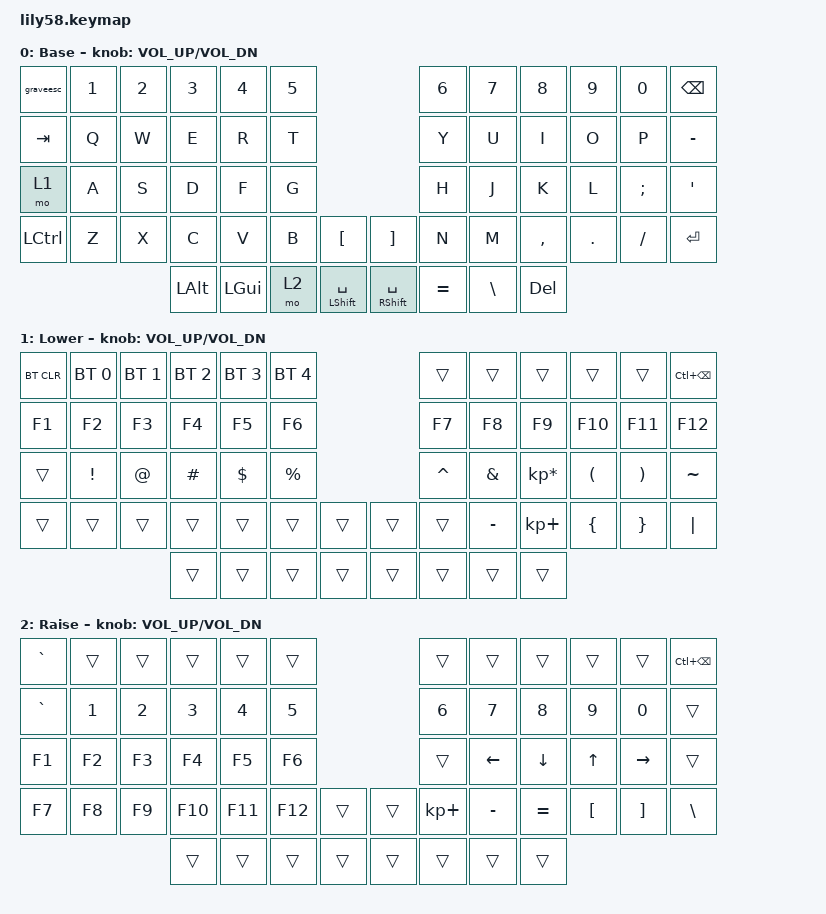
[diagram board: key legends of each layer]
/*
 * Copyright (c) 2020 The ZMK Contributors
 *
 * SPDX-License-Identifier: MIT
 */

#include <behaviors.dtsi>
#include <dt-bindings/zmk/bt.h>
#include <dt-bindings/zmk/keys.h>

/ {
    combos {
        compatible = "zmk,combos";

        combo_f5 {
            bindings = <&kp F5>;
            key-positions = <28 5>;
        };
    };

    behaviors {
        sp: sp {
            compatible = "zmk,behavior-hold-tap";
            label = "SP";
            bindings = <&kp>, <&kp>;

            #binding-cells = <2>;
            flavor = "tap-preferred";
            tapping-term-ms = <200>;
        };

        dbltap_del: dbltap_del {
            compatible = "zmk,behavior-tap-dance";
            label = "DBLTAP_DEL";
            #binding-cells = <0>;
            bindings = <&mt DELETE BACKSPACE>, <&kp LC(BACKSPACE)>;
        };

        graveesc: graveesc {
            compatible = "zmk,behavior-mod-morph";
            label = "GRAVEESC";
            bindings = <&kp ESC>, <&kp TILDE>;

            #binding-cells = <0>;
            mods = <(MOD_LSFT)>;
        };
    };

    keymap {
        compatible = "zmk,keymap";

        default_layer {
            // ------------------------------------------------------------------------------------------------------------
            // |  ESC  |  1  |  2  |  3   |  4   |  5   |                   |  6   |  7    |  8    |  9   |   0   |   `   |
            // |  TAB  |  Q  |  W  |  E   |  R   |  T   |                   |  Y   |  U    |  I    |  O   |   P   |   -   |
            // |  CTRL |  A  |  S  |  D   |  F   |  G   |                   |  H   |  J    |  K    |  L   |   ;   |   '   |
            // | SHIFT |  Z  |  X  |  C   |  V   |  B   |   "["  |  |  "]"  |  N   |  M    |  ,    |  .   |   /   | SHIFT |
            //                     | ALT  | GUI  | LOWER|  SPACE |  | ENTER | RAISE| BSPC  | GUI   |

            display-name = "Base";
            bindings = <
&graveesc  &kp N1  &kp N2  &kp N3    &kp N4    &kp N5                                       &kp N6     &kp N7         &kp N8     &kp N9   &kp N0    &kp BACKSPACE
&kp TAB    &kp Q   &kp W   &kp E     &kp R     &kp T                                        &kp Y      &kp U          &kp I      &kp O    &kp P     &kp MINUS
&mo 1      &kp A   &kp S   &kp D     &kp F     &kp G                                        &kp H      &kp J          &kp K      &kp L    &kp SEMI  &kp SQT
&kp LCTRL  &kp Z   &kp X   &kp C     &kp V     &kp B   &kp LBKT           &kp RBKT          &kp N      &kp M          &kp COMMA  &kp DOT  &kp FSLH  &kp ENTER
                           &kp LALT  &kp LGUI  &mo 2   &sp LSHFT SPACE    &sp RSHIFT SPACE  &kp EQUAL  &kp BACKSLASH  &kp DEL
            >;

            sensor-bindings = <&inc_dec_kp C_VOL_UP C_VOL_DN>;
        };

        lower_layer {
            // ------------------------------------------------------------------------------------------------------------
            // | BTCLR | BT1 | BT2 |  BT3 |  BT4 |  BT5 |                   |      |       |       |      |       |       |
            // |  F1   |  F2 |  F3 |  F4  |  F5  |  F6  |                   |  F7  |  F8   |  F9   |  F10 |  F11  |  F12  |
            // |   `   |  !  |  @  |  #   |  $   |  %   |                   |  ^   |  &    |  *    |  (   |   )   |   ~   |
            // |       |     |     |      |      |      |        |  |       |      |  _    |  +    |  {   |   }   |  "|"  |
            //                     |      |      |      |        |  |       |      |       |       |

            display-name = "Lower";
            bindings = <
&bt BT_CLR  &bt BT_SEL 0  &bt BT_SEL 1  &bt BT_SEL 2  &bt BT_SEL 3  &bt BT_SEL 4                    &trans     &trans     &trans           &trans    &trans    &kp LC(BACKSPACE)
&kp F1      &kp F2        &kp F3        &kp F4        &kp F5        &kp F6                          &kp F7     &kp F8     &kp F9           &kp F10   &kp F11   &kp F12
&trans      &kp EXCL      &kp AT        &kp HASH      &kp DOLLAR    &kp PRCNT                       &kp CARET  &kp AMPS   &kp KP_MULTIPLY  &kp LPAR  &kp RPAR  &kp TILDE
&trans      &trans        &trans        &trans        &trans        &trans        &trans    &trans  &trans     &kp MINUS  &kp KP_PLUS      &kp LBRC  &kp RBRC  &kp PIPE
                                        &trans        &trans        &trans        &trans    &trans  &trans     &trans     &trans
            >;

            sensor-bindings = <&inc_dec_kp C_VOL_UP C_VOL_DN>;
        };

        raise_layer {
            // ------------------------------------------------------------------------------------------------------------
            // |       |     |     |      |      |      |                   |      |       |       |      |       |       |
            // |   `   |  1  |  2  |  3   |  4   |  5   |                   |  6   |   7   |   8   |  9   |   0   |       |
            // |   F1  |  F2 |  F3 |  F4  |  F5  |  F6  |                   |      |   <-  |   v   |  ^   |  ->   |       |
            // |   F7  |  F8 |  F9 |  F10 |  F11 |  F12 |        |  |       |  +   |   -   |   =   |  [   |   ]   |   \   |
            //                     |      |      |      |        |  |       |      |       |       |

            display-name = "Raise";
            bindings = <
&kp GRAVE  &trans  &trans  &trans   &trans   &trans                     &trans       &trans     &trans     &trans    &trans     &kp LC(BACKSPACE)
&kp GRAVE  &kp N1  &kp N2  &kp N3   &kp N4   &kp N5                     &kp N6       &kp N7     &kp N8     &kp N9    &kp N0     &trans
&kp F1     &kp F2  &kp F3  &kp F4   &kp F5   &kp F6                     &trans       &kp LEFT   &kp DOWN   &kp UP    &kp RIGHT  &trans
&kp F7     &kp F8  &kp F9  &kp F10  &kp F11  &kp F12  &trans    &trans  &kp KP_PLUS  &kp MINUS  &kp EQUAL  &kp LBKT  &kp RBKT   &kp BSLH
                           &trans   &trans   &trans   &trans    &trans  &trans       &trans     &trans
            >;

            sensor-bindings = <&inc_dec_kp C_VOL_UP C_VOL_DN>;
        };

        extra_1 { status = "reserved"; };

        extra_2 { status = "reserved"; };

        extra_3 { status = "reserved"; };
    };
};
